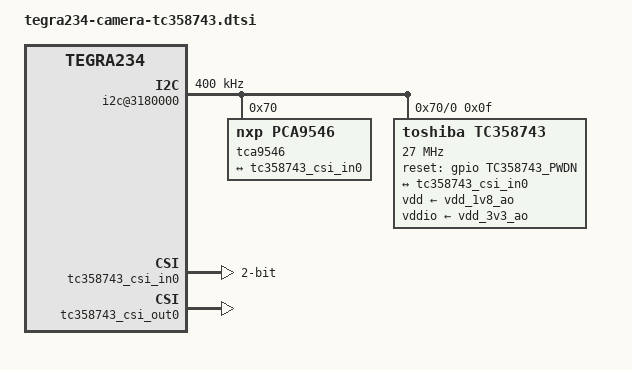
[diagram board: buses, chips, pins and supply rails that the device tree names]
// SPDX-License-Identifier: GPL-2.0-only
// Copyright (c) 2024 ARK Electronics

#include <dt-bindings/clock/tegra234-clock.h>
#include <dt-bindings/gpio/tegra234-gpio.h>

#define CAMERA_I2C_MUX_BUS(x) (0x1E + x)
#define TC358743_PWDN TEGRA234_MAIN_GPIO(H, 6)

/ {
    fragment-camera@0 {
        target-path = "/";
        __overlay__ {
            i2c@3180000 {
                status = "okay";
                clock-frequency = <400000>;

                tca9546@70 {
                    compatible = "nxp,pca9546";
                    reg = <0x70>;
                    i2c-parent = <&cam_i2c>;
                    skip_mux_detect = "yes";
                    status = "okay";
                    force_bus_start = <CAMERA_I2C_MUX_BUS(0)>;

                    i2c@0 {
                        reg = <0>;
                        i2c-mux,deselect-on-exit;
                        status = "okay";

                        tc358743@f {
                            compatible = "toshiba,tc358743";
                            reg = <0xf>;
                            status = "okay";
                            
                            reset-gpios = <&gpio TC358743_PWDN GPIO_ACTIVE_HIGH>;
                            vdd-supply = <&vdd_1v8_ao>;
                            vddio-supply = <&vdd_3v3_ao>;

                            clock-names = "refclk";
                            clocks = <&bpmp TEGRA234_CLK_EXTPERIPH1>;
                            clock-frequency = <27000000>;

                            data-lanes = <2>;
                            continuous-clock;
                            
                            port {
                                tc358743_out0: endpoint {
                                    clock-lanes = <0>;
                                    data-lanes = <1 2>;
                                    clock-noncontinuous;
                                    link-frequencies = /bits/ 64 <182400000>;
                                    remote-endpoint = <&tc358743_csi_in0>;
                                };
                            };
                        };
                    };
                };
            };

            gpio@2200000 {
                camera-control-output-high {
                    gpios = <TC358743_PWDN 1>;
                    label = "tc358743-pwdn";
                };
            };

            tegra-capture-vi {
                num-channels = <1>;
                ports {
                    #address-cells = <1>;
                    #size-cells = <0>;
                    port@0 {
                        reg = <0>;
                        status = "okay";
                        tc358743_vi_in0: endpoint {
                            status = "okay";
                            port-index = <0>;  /* CSI-A */
                            bus-width = <2>;   /* 4 lanes is supported but trying 2 based on forum posts and sample */
                            remote-endpoint = <&tc358743_csi_out0>;
                        };
                    };
                };
            };

            host1x@13e00000 {
                nvcsi@15a00000 {
                    num-channels = <1>;
                    #address-cells = <1>;
                    #size-cells = <0>;
                    channel@0 {
                        reg = <0>;
                        status = "okay";
                        ports {
                            #address-cells = <1>;
                            #size-cells = <0>;
                            port@0 {
                                reg = <0>;
                                status = "okay";
                                tc358743_csi_in0: endpoint@0 {
                                    status = "okay";
                                    port-index = <0>;
                                    bus-width = <2>;
                                    remote-endpoint = <&tc358743_out0>;
                                };
                            };
                            port@1 {
                                reg = <1>;
                                status = "okay";
                                tc358743_csi_out0: endpoint@1 {
                                    status = "okay";
                                    remote-endpoint = <&tc358743_vi_in0>;
                                };
                            };
                        };
                    };
                };
            };
        };
    };
}; 
